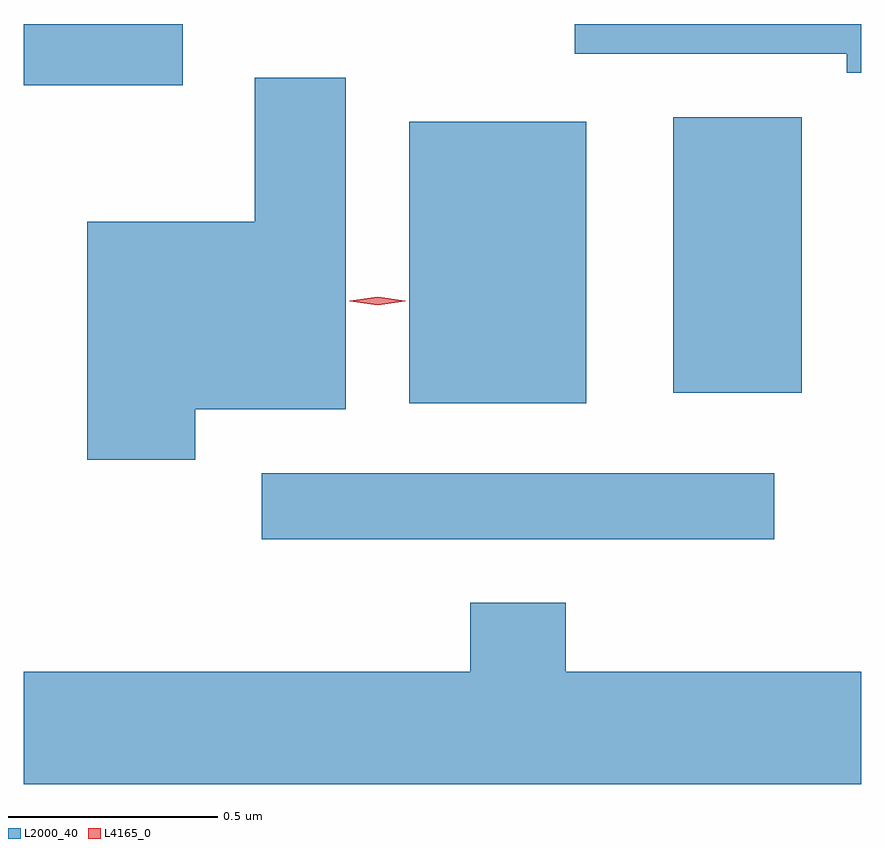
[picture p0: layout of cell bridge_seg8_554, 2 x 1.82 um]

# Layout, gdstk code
import gdstk
lib = gdstk.Library(unit=1e-6, precision=1e-09)
def R(c, l, rs):  # rectangles x0, y0, x1, y1
    for r in rs: c.add(gdstk.rectangle(r[:2], r[2:], *l))
def P(c, l, *ps):  # polygons
    for p in ps: c.add(gdstk.Polygon(p, *l))
L2000_40 = (2000, 40)
L4165_0 = (4165, 0)

bridge_seg8_554 = lib.new_cell('bridge_seg8_554')
R(bridge_seg8_554, L2000_40, [(459.883,1863.641,461.108,1863.799), (460.236,1863.966,460.659,1864.639), (460.866,1863.991,461.174,1864.649), (459.315,1864.726,459.694,1864.872)])
P(bridge_seg8_554, L2000_40, [(461.315,1864.872),(460.631,1864.872),(460.631,1864.801),(461.281,1864.801),(461.281,1864.756),(461.315,1864.756)],
  [(459.724,1863.951),(460.084,1863.951),(460.084,1864.744),(459.866,1864.744),(459.866,1864.399),(459.466,1864.399),(459.466,1863.831),(459.724,1863.831)],
  [(461.315,1863.324),(460.609,1863.324),(460.609,1863.489),(460.381,1863.489),(460.381,1863.324),(459.315,1863.324),(459.315,1863.056),(461.315,1863.056)])
P(bridge_seg8_554, L4165_0, [(460.16,1864.2),(460.093,1864.21),(460.093,1864.21),(460.093,1864.211),(460.16,1864.22),(460.226,1864.211),(460.226,1864.21),(460.226,1864.21)])

lib.write_gds('bridge_seg8_554.gds')
